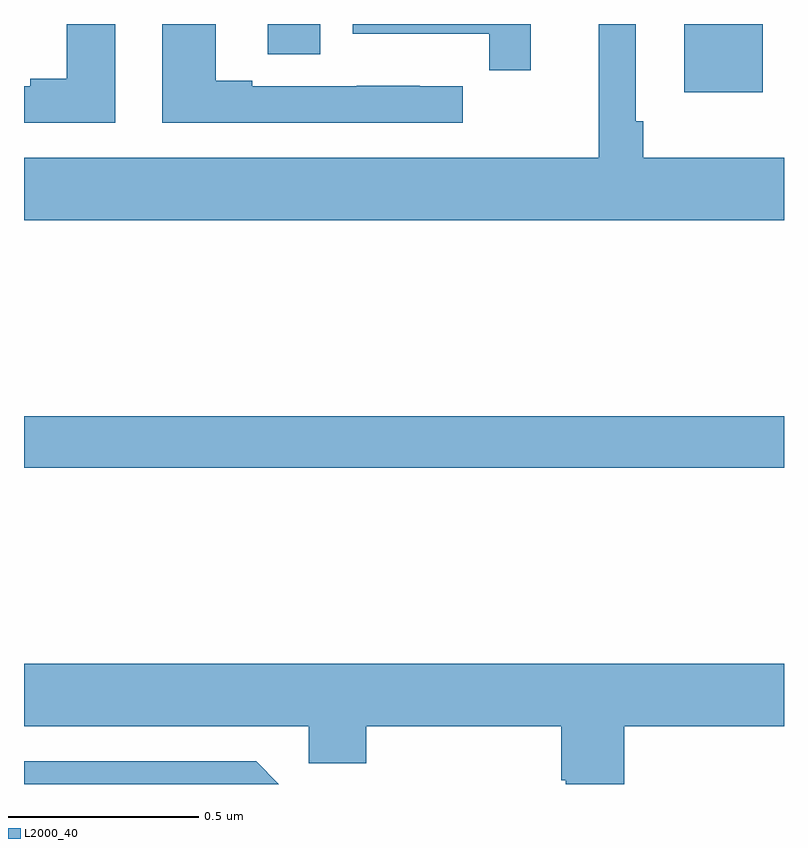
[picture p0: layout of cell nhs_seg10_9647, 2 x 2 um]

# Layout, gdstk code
import gdstk
lib = gdstk.Library(unit=1e-6, precision=1e-09)
def R(c, l, rs):  # rectangles x0, y0, x1, y1
    for r in rs: c.add(gdstk.rectangle(r[:2], r[2:], *l))
def P(c, l, *ps):  # polygons
    for p in ps: c.add(gdstk.Polygon(p, *l))
L2000_40 = (2000, 40)

nhs_seg10_9647 = lib.new_cell('nhs_seg10_9647')
R(nhs_seg10_9647, L2000_40, [(232,1298.332,234,1298.468), (233.738,1299.32,233.944,1299.5), (232.641,1299.421,232.78,1299.5)])
P(nhs_seg10_9647, L2000_40, [(234,1299.148),(233.63,1299.148),(233.63,1299.244),(233.61,1299.244),(233.61,1299.5),(233.513,1299.5),(233.513,1299.148),(232,1299.148),(232,1298.984),(234,1298.984)],
  [(232.24,1299.5),(232.112,1299.5),(232.112,1299.356),(232.016,1299.356),(232.016,1299.336),(232,1299.336),(232,1299.24),(232.24,1299.24)],
  [(233.333,1299.5),(232.865,1299.5),(232.865,1299.474),(233.224,1299.474),(233.224,1299.378),(233.333,1299.378)],
  [(233.155,1299.336),(233.042,1299.336),(233.042,1299.337),(232.876,1299.337),(232.876,1299.336),(232.6,1299.336),(232.6,1299.351),(232.504,1299.351),(232.504,1299.5),(232.364,1299.5),(232.364,1299.24),(233.155,1299.24)],
  [(233.579,1297.652),(234,1297.652),(234,1297.816),(232,1297.816),(232,1297.652),(232.749,1297.652),(232.749,1297.554),(232.901,1297.554),(232.901,1297.652),(233.414,1297.652),(233.414,1297.51),(233.426,1297.51),(233.426,1297.5),(233.579,1297.5)],
  [(232.611,1297.56),(232,1297.56),(232,1297.5),(232.671,1297.5)])

lib.write_gds('nhs_seg10_9647.gds')
